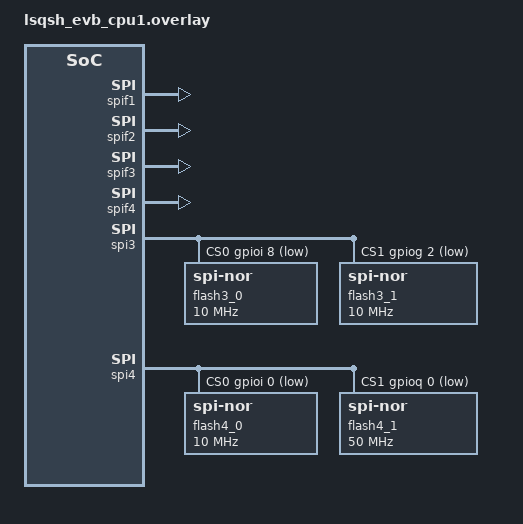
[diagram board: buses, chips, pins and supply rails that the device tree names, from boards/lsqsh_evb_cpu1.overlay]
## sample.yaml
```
sample:
  description: .. spi_monitor_warm_reset
    application
  name: spi_monitor_warm_reset
common:
  tags: introduction
  integration_platforms:
    - native_sim
  harness: console
  harness_config:
    type: one_line
    regex:
      - "spi_monitor_warm_reset! (.*)"
tests:
  sample.basic.helloworld:
    tags: introduction
```

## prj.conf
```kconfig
CONFIG_SPI_FILTER_LINKEDSEMI=y
CONFIG_SPI=y
CONFIG_FLASH=y

CONFIG_SHELL=y
CONFIG_FLASH_SHELL=y
CONFIG_DMA=y

CONFIG_LOG=y
CONFIG_LOG_BUFFER_SIZE=65536
CONFIG_SHELL_BACKEND_SERIAL_LOG_MESSAGE_QUEUE_SIZE=40960


CONFIG_FLASH_JESD216_API=y
CONFIG_SPI_EXTENDED_MODES=y

CONFIG_MAIN_STACK_SIZE=10240

CONFIG_IDLE_STACK_SIZE=512
CONFIG_TEST_EXTRA_STACK_SIZE=1536
CONFIG_SYSTEM_WORKQUEUE_STACK_SIZE=8192
CONFIG_ISR_STACK_SIZE=4096
CONFIG_PRIVILEGED_STACK_SIZE=4096
CONFIG_SHELL_STACK_SIZE=4096
CONFIG_LOG_PROCESS_THREAD_STACK_SIZE=4096

CONFIG_SPI_FILTER_INTERRUPT_LOG=n
CONFIG_SPI_FILTER_DMA_LOG=y

CONFIG_BUILD_OUTPUT_HEX=y#hex

CONFIG_LOG_MODE_DEFERRED=n
CONFIG_LOG_MODE_IMMEDIATE=y
CONFIG_LINKEDSEMI_ZEPHYR_UTIL_CMD_REBOOT=y
```

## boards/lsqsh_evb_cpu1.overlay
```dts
#include "lsqsh_pinctrl_pfr_tpm.dtsi"

/ {
    aliases {
#if 1
        spifilter = &spif3;
        spifiltermaster = &spif1;
        spiflash = &flash3_0;
#endif
#if 0
        spifilter = &spif2;
        spifiltermaster = &spif4;
        spiflash = &flash4_1;
#endif
    };
};

&spif1 {
    status = "okay";
};

&spif2 {
    status = "okay";
};

&spif3 {
    cmd-page-program-quad-addr-quad-data =<0xc2>;
    cmd-quad-spi-mode-enter = <0x38>;
    cmd-quad-spi-mode-exit = <0xff>;
    status = "okay";
};

&spif4 {
    cmd-page-program-quad-addr-quad-data =<0xc2>;
    cmd-quad-spi-mode-enter = <0x38>;
    cmd-quad-spi-mode-exit = <0xff>;
    status = "okay";
};

&spi3 {
    cs-gpios = <&gpioi 8 GPIO_ACTIVE_LOW>,
                <&gpiog 2 GPIO_ACTIVE_LOW>;
    pinctrl-0 = <>;
    pinctrl-names = "default";
    //timing-calibration-disabled;
    dmas =<&dmac2 6 DMA_SPI3_RX>,<&dmac2 6 DMA_SPI3_TX>;
    dma-names ="rx","tx";
    status = "okay";

    flash3_0: flash3@0 {
        compatible = "jedec,spi-nor";
        reg = <0>;
        spi-max-frequency = <DT_FREQ_M(10)>;
        //spi-max-buswidth = <4>;
        //spi-nor-caps-mask=<0x40000>;
        re-init-support;
    };
    flash3_1: flash3@1 {
        compatible = "jedec,spi-nor";
        reg = <1>;
        spi-max-frequency = <DT_FREQ_M(10)>;
        spi-max-buswidth = <4>;
        re-init-support;
    };
};

&spi4 {
    cs-gpios = <&gpioi 0 GPIO_ACTIVE_LOW>,
                <&gpioq 0 GPIO_ACTIVE_LOW>;
    pinctrl-0 = <>;
    pinctrl-names = "default";
    timing-calibration-disabled;
    dmas =<&dmac2 6 DMA_SPI4_RX>,<&dmac2 6 DMA_SPI4_TX>;
    dma-names ="rx","tx";
    status = "okay";

    flash4_0: flash4@0 {
        compatible = "jedec,spi-nor";
        reg = <0>;
        spi-max-frequency = <DT_FREQ_M(10)>;
        spi-max-buswidth = <4>;
        re-init-support;
    };
    flash4_1: flash4@1 {
        compatible = "jedec,spi-nor";
        reg = <1>;
        spi-max-frequency = <DT_FREQ_M(50)>;
        spi-max-buswidth = <4>;
        re-init-support;
    };
};

&dmac1 {
    status = "okay";
};

&dmac2 {
    status = "okay";
};

#if 0
#undef SRAM_TOTAL_SIZE
#undef SRAM_RO_SIZE
#undef SRAM_RW_SIZE

#define SRAM_TOTAL_SIZE DT_SIZE_K(512 - 128)
#define SRAM_RO_SIZE    DT_SIZE_K(256 - 128)
#define SRAM_RW_SIZE    (SRAM_TOTAL_SIZE - SRAM_RO_SIZE)

&sram_ro {
    reg = <0x10020000 SRAM_RO_SIZE>;
};

&sram {
    reg = <(0x10020000 + SRAM_RO_SIZE) SRAM_RW_SIZE>;
};
#endif
```

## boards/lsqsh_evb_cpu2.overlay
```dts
#include "lsqsh_pinctrl_pfr_tpm.dtsi"

/ {
    aliases {
#if 1
        spifilter = &spif3;
        spifiltermaster = &spif1;
        spiflash = &flash3_0;
#endif
#if 0
        spifilter = &spif2;
        spifiltermaster = &spif4;
        spiflash = &flash4_1;
#endif
    };
};

&chosen {
    zephyr,flash-controller = &qspi1;
    zephyr,console = &uart5;
    zephyr,shell-uart = &uart5;
};

&spif1 {
    status = "okay";
};

&spif2 {
    status = "okay";
};

&spif3 {
    cmd-page-program-quad-addr-quad-data =<0xc2>;
    cmd-quad-spi-mode-enter = <0x38>;
    cmd-quad-spi-mode-exit = <0xff>;
    status = "okay";
};

&spif4 {
    cmd-page-program-quad-addr-quad-data =<0xc2>;
    cmd-quad-spi-mode-enter = <0x38>;
    cmd-quad-spi-mode-exit = <0xff>;
    status = "okay";
};

&spi3 {
    cs-gpios = <&gpioi 8 GPIO_ACTIVE_LOW>,
                <&gpiog 2 GPIO_ACTIVE_LOW>;
    pinctrl-0 = <>;
    pinctrl-names = "default";
    //timing-calibration-disabled;
    dmas =<&dmac2 6 DMA_SPI3_RX>,<&dmac2 6 DMA_SPI3_TX>;
    dma-names ="rx","tx";
    status = "okay";

    flash3_0: flash3@0 {
        compatible = "jedec,spi-nor";
        reg = <0>;
        spi-max-frequency = <DT_FREQ_M(10)>;
        spi-max-buswidth = <4>;
        //spi-nor-caps-mask=<0x40000>;
        re-init-support;
    };
    flash3_1: flash3@1 {
        compatible = "jedec,spi-nor";
        reg = <1>;
        spi-max-frequency = <DT_FREQ_M(10)>;
        spi-max-buswidth = <4>;
        re-init-support;
    };
};

&spi4 {
    cs-gpios = <&gpioi 0 GPIO_ACTIVE_LOW>,
                <&gpioq 0 GPIO_ACTIVE_LOW>;
    pinctrl-0 = <>;
    pinctrl-names = "default";
    timing-calibration-disabled;
    dmas =<&dmac2 6 DMA_SPI4_RX>,<&dmac2 6 DMA_SPI4_TX>;
    dma-names ="rx","tx";
    status = "okay";

    flash4_0: flash4@0 {
        compatible = "jedec,spi-nor";
        reg = <0>;
        spi-max-frequency = <DT_FREQ_M(10)>;
        spi-max-buswidth = <4>;
        re-init-support;
    };
    flash4_1: flash4@1 {
        compatible = "jedec,spi-nor";
        reg = <1>;
	spi-max-frequency = <50000>;
        spi-max-buswidth = <4>;
        re-init-support;
    };
};

&dmac1 {
    status = "okay";
};

&dmac2 {
    status = "okay";
};

&pinctrl {
	/omit-if-no-ref/uart4_tx_pd11: uart4_tx_pd11 {
	pinmux = <UART4_TXD_FUNC1_IDX09_PINMUX_PD(11)>;
};

	/omit-if-no-ref/uart4_rx_pd12: uart4_rx_pd12 {
	pinmux = <UART4_RXD_FUNC1_IDX10_PINMUX_PD(12)>;
	input-enable;
};
	/omit-if-no-ref/uart5_tx_pn14: uart5_tx_pn14 {
	pinmux = <UART5_TXD_FUNC4_PN14_PINMUX>;
};
	/omit-if-no-ref/uart5_rx_pn13: uart5_rx_pn13 {
	pinmux = <UART5_RXD_FUNC4_PN13_PINMUX>;
	input-enable;
};

};

&uart4 {
	status = "disabled";
	pinctrl-0 = <&uart4_tx_pd11 &uart4_rx_pd12>;
	pinctrl-names = "default";
};

#if 1
&uart5 {
	status = "okay";
	pinctrl-0 = <&uart5_tx_pn14 &uart5_rx_pn13>;
	pinctrl-names = "default";
};
#endif

#if 0
#undef SRAM_TOTAL_SIZE
#undef SRAM_RO_SIZE
#undef SRAM_RW_SIZE

#define SRAM_TOTAL_SIZE DT_SIZE_K(512 - 128)
#define SRAM_RO_SIZE    DT_SIZE_K(256 - 128)
#define SRAM_RW_SIZE    (SRAM_TOTAL_SIZE - SRAM_RO_SIZE)

&sram_ro {
    reg = <0x10020000 SRAM_RO_SIZE>;
};

&sram {
    reg = <(0x10020000 + SRAM_RO_SIZE) SRAM_RW_SIZE>;
};
#endif
```

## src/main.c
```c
/*
 * Copyright (c) 2024 Linkedsemi
 *
 * SPDX-License-Identifier: Apache-2.0
 */

#include "zephyr/sys/printk.h"
#include "zephyr/sys/util.h"
#include "zephyr/types.h"
#include <stdbool.h>
#include <stdint.h>
#if !defined(CONFIG_SPI_FILTER_LINKEDSEMI)
    #error no CONFIG_SPI_FILTER_LINKEDSEMI define
#endif

#include <zephyr/drivers/spi.h>
#include <zephyr/drivers/spi_nor.h>
#include <zephyr/kernel.h>
#include <stdlib.h>
#include <stdio.h>
#include <zephyr/kernel.h>
#include <zephyr/drivers/spi.h>
#include <zephyr/drivers/flash.h>
#include <reg_spi_filter.h>
#include <spi_filter.h>
#include <ls_soc_gpio.h>
#include <zephyr/logging/log.h>
#include <time.h>

LOG_MODULE_REGISTER(spi_monitor_warm_reset, LOG_LEVEL_DBG);
extern int spi_nor_config_4byte_mode(const struct device *dev, bool en4b);

#if 0
#include "/home/htliu/zephyr_work/modules/lib/pfr_tpm/drivers/pfr/spi/spi_filter.h"
#else
#define SPIF_LOG_RAM_MAX_SIZE_U32     1024
#endif

#define FLASH_OFFSET MB(0)
#define FLASH_ERASE_SIZE 4096
#define FLASH_TEST_SIZE 4096

#define FLASH_OFFSET_MAIN 0x1000
#define FLASH_ERASE_SIZE_4K 0X1000
#define FLASH_ERASE_SIZE_MAIN 0x4000//16K 0X1000//4k

#define START_ADDR_MAIN  0x4000
#define START_ADDR_0x40000  0x40000

static uint8_t data_write[16];

static uint8_t data_read[sizeof(data_write)]={0};

#include <reg_ssi_type.h>
#include <platform.h>
reg_ssi_t *DWSPI3 = ((reg_ssi_t *)APP_DWSPI3_ADDR);
reg_ssi_t *DWSPI4 = ((reg_ssi_t *)APP_DWSPI4_ADDR);


int  test_spif(void)
{
	do {
		uint8_t id[3] = { 0 };
		const struct device *const flash_dev = DEVICE_DT_GET(DT_ALIAS(spiflash));
		// spi_nor_re_init(flash_dev);
		int rc = flash_read_jedec_id(flash_dev, id);
		DELAY_MS(10);
		if (rc == 0) {

			LOG_INF("jedec-id = [%02x %02x %02x];\n", id[0], id[1], id[2]);
		} else {
		LOG_INF("JEDEC ID read failed: %d\n", rc);
		}
	} while(0);

	return 0;
}

void spi_monitor_jedec_id(const struct device *const spifiltermaster,const struct device *const spifilter,uint32_t freq)
{

	static const uint8_t send_data_0[] = {
		0x9f,
	};
	uint8_t rx[4] = {0};

	const struct device *spi_dev = spif_spi_dev(spifiltermaster);

	const struct spi_config spi_cfg = {
		.operation = SPI_OP_MODE_MASTER | SPI_WORD_SET(8) | SPI_TRANSFER_MSB,
		.frequency = freq,
		.cs = { .gpio = *(spif_spi_cs(spifiltermaster)), },
	};
	LOG_INF("send_freq=%u",freq);
	int ret=0;
	struct spi_buf tx_buf_0 = {
		.buf = (uint8_t*)send_data_0,
		.len = sizeof(send_data_0),
	};

	struct spi_buf rx_buf = {
		.buf = &rx,
		.len = sizeof(rx),
	};

	const struct spi_buf_set tx_set_0 = { &tx_buf_0, 1 };
	const struct spi_buf_set rx_set = { &rx_buf, 1 };

	ret = spi_transceive(spi_dev, &spi_cfg, &tx_set_0, &rx_set);

	if (ret < 0) {
		LOG_ERR("send failed: %d",ret);
	}else {
		for (int i=0; i<sizeof(rx); i++) {
			printk("0x%02X ",rx[i]);
		}
		printk("\n");

	}

}

void spi_monitor_send_read_addr(const struct device *const spifiltermaster,const struct device *const spifilter,uint32_t freq)
{

	static const uint8_t send_data_0[] = {
		0x03,0x00,0x40,0x00
	};
	uint8_t rx[8] = {0};

	const struct device *spi_dev = spif_spi_dev(spifiltermaster);

	const struct spi_config spi_cfg = {
		.operation = SPI_OP_MODE_MASTER | SPI_WORD_SET(8) | SPI_TRANSFER_MSB,
		.frequency = freq,
		.cs = { .gpio = *(spif_spi_cs(spifiltermaster)), },
	};
	LOG_INF("send_freq=%u",freq);
	int ret=0;
	struct spi_buf tx_buf_0 = {
		.buf = (uint8_t*)send_data_0,
		.len = sizeof(send_data_0),
	};

	struct spi_buf rx_buf = {
		.buf = &rx,
		.len = sizeof(rx),
	};

	const struct spi_buf_set tx_set_0 = { &tx_buf_0, 1 };
	const struct spi_buf_set rx_set = { &rx_buf, 1 };

	ret = spi_transceive(spi_dev, &spi_cfg, &tx_set_0, &rx_set);

	if (ret < 0) {
		LOG_ERR("send failed: %d",ret);
	}else {
		for (int i=0; i<sizeof(rx); i++) {
			printk("0x%02X ",rx[i]);
		}
		printk("\n");

	}

}
static void spif_dma_callback(void *callback_arg)
{
    const struct device *dev = (const struct device *)callback_arg;
    LOG_INF("DMA callback triggered for device: %s", dev->name);
}
#include <string.h>
#include <zephyr/shell/shell.h>
#include <zephyr/sys/reboot.h>

void configure_address_protection(const struct device *spifilter,uint32_t start_addr,uint32_t protect_size)
{
	spif_address_privilege_config(spifilter, FLAG_ADDR_PRIV_READ_SELECT, FLAG_ADDR_PRIV_DISABLE, start_addr, protect_size);
	spif_address_privilege_config(spifilter, FLAG_ADDR_PRIV_WRITE_SELECT, FLAG_ADDR_PRIV_DISABLE, start_addr, protect_size);
}


#if 1
static int cmd_spi_test(const struct shell *sh, size_t argc, char **argv)
{

	const struct device *const spifilter = DEVICE_DT_GET(DT_ALIAS(spifilter));
	bool check;
	const struct device *const spifiltermaster = DEVICE_DT_GET(DT_ALIAS(spifiltermaster));

	if (!device_is_ready(spifilter) || !device_is_ready(spifiltermaster)) {
		shell_error(sh, "SPI Filter devices not ready");
		return -ENODEV;
	}

	shell_print(sh, "Starting cmd_spi_test ...");

	linkedsemi_spi_filter_cold_reset(spifilter);

	spif_flash_size_set(spifilter, MB(32));

	#if defined(CONFIG_SPI_FILTER_DMA_LOG)
	linkedsemi_spif_register_callback(spifilter, (void*)spif_dma_callback);
	spif_dma_start(spifilter);
	#endif

	spif_filter_enable(spifilter, true);
	check = spif_pinctrl_filter_mode_check(spifilter);
	__ASSERT_NO_MSG(check);

	// spif_operation_mode_config(spifilter, true);//if change to filter
	// printk("Switch to Filter mode (OPERATION_MODE=1)\n");

	spif_passthrough_analog_mux_enable(spifilter, true);
	spif_switch_to_master(spifiltermaster);

	const struct device *const flash_dev = DEVICE_DT_GET(DT_ALIAS(spiflash));

	uint32_t freq = DT_PROP(DT_ALIAS(spiflash), spi_max_frequency);

	spif_add_cmd(spifilter, 0x03);
	configure_address_protection(spifilter,0x4000,FLASH_ERASE_SIZE_MAIN);

	spif_dump_cmd_table(spifilter);
	spif_dump_rw_addr_privilege_table(spifilter);

	spi_monitor_jedec_id(spifiltermaster,spifilter,freq);
	spi_monitor_send_read_addr(spifiltermaster,spifilter,freq);
	test_spif();
	test_spif();
	shell_print(sh, "cmd_spi_test Completed.");
	return 0;
}

static int cmd_spi_test1(const struct shell *sh, size_t argc, char **argv)
{

	const struct device *const spifilter = DEVICE_DT_GET(DT_ALIAS(spifilter));
	const struct device *const spifiltermaster = DEVICE_DT_GET(DT_ALIAS(spifiltermaster));

	if (!device_is_ready(spifilter) || !device_is_ready(spifiltermaster)) {
		shell_error(sh, "SPI Filter devices not ready");
		return -ENODEV;
	}

	shell_print(sh, "Starting cmd_spi_test1...");

	linkedsemi_spi_filter_cold_reset(spifilter);

	spif_flash_size_set(spifilter, MB(32));

	#if defined(CONFIG_SPI_FILTER_DMA_LOG)
	linkedsemi_spif_register_callback(spifilter, (void*)spif_dma_callback);
	spif_dma_start(spifilter);
	#endif

	spif_filter_enable(spifilter, true);
	spif_passthrough_analog_mux_enable(spifilter, true);
	spif_switch_to_master(spifiltermaster);


	uint32_t freq = DT_PROP(DT_ALIAS(spiflash), spi_max_frequency);

	spif_dump_cmd_table(spifilter);
	spif_dump_rw_addr_privilege_table(spifilter);

	spi_monitor_jedec_id(spifiltermaster, spifilter, freq);

	spi_monitor_send_read_addr(spifiltermaster,spifilter,freq);
	test_spif();
	shell_print(sh, "cmd_spi_test1 Completed.");
	return 0;
}

static int cmd_spi_test2(const struct shell *sh, size_t argc, char **argv)
{

	const struct device *const spifilter = DEVICE_DT_GET(DT_ALIAS(spifilter));
	const struct device *const spifiltermaster = DEVICE_DT_GET(DT_ALIAS(spifiltermaster));

	if (!device_is_ready(spifilter) || !device_is_ready(spifiltermaster)) {
		shell_error(sh, "SPI Filter devices not ready");
		return -ENODEV;
	}

	shell_print(sh, "Starting cmd_spi_test2...");

	spif_flash_size_set(spifilter, MB(32));

	#if defined(CONFIG_SPI_FILTER_DMA_LOG)
	linkedsemi_spif_register_callback(spifilter, (void*)spif_dma_callback);
	spif_dma_start(spifilter);
	#endif

	spif_filter_enable(spifilter, true);
	spif_passthrough_analog_mux_enable(spifilter, true);
	spif_switch_to_master(spifiltermaster);

	uint32_t freq = DT_PROP(DT_ALIAS(spiflash), spi_max_frequency);
	spif_dump_cmd_table(spifilter);
	spif_dump_rw_addr_privilege_table(spifilter);
	spi_monitor_jedec_id(spifiltermaster,spifilter,freq);
	spi_monitor_send_read_addr(spifiltermaster,spifilter,freq);
	test_spif();
	shell_print(sh, "cmd_spi_test2 Completed.");
	return 0;
}
static int cmd_spi_dump(const struct shell *sh, size_t argc, char **argv)
{

	const struct device *const spifilter = DEVICE_DT_GET(DT_ALIAS(spifilter));
	const struct device *const spifiltermaster = DEVICE_DT_GET(DT_ALIAS(spifiltermaster));

	if (!device_is_ready(spifilter) || !device_is_ready(spifiltermaster)) {
		shell_error(sh, "SPI Filter devices not ready");
		return -ENODEV;
	}

	shell_print(sh, "Starting cmd_spi_dump...");

	spif_dump_cmd_table(spifilter);
	spif_dump_rw_addr_privilege_table(spifilter);

	shell_print(sh, "cmd_spi_dump Completed.");
	return 0;
}


SHELL_CMD_REGISTER(spi_test, NULL, "Run SPI Filter and JEDEC ID monitor test", cmd_spi_test);
SHELL_CMD_REGISTER(spi_test1, NULL, "Run SPI Filter and JEDEC ID monitor test", cmd_spi_test1);
SHELL_CMD_REGISTER(spi_test2, NULL, "Run SPI Filter and JEDEC ID monitor test", cmd_spi_test2);
SHELL_CMD_REGISTER(spi_dump, NULL, "Run SPI Filter and JEDEC ID monitor test", cmd_spi_dump);
#endif

int main(void)
{
	k_msleep(1000);
	LOG_INF("3.10.0");
	while (1) {
		k_sleep(K_FOREVER);
	}

	return 0;
}
```
